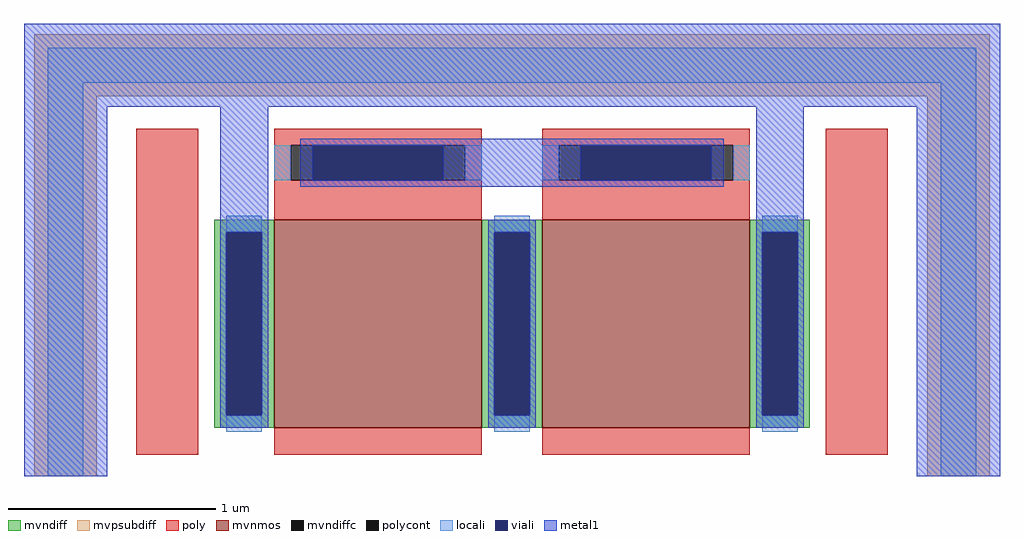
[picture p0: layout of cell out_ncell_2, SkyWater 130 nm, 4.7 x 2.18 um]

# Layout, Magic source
magic
tech sky130A
magscale 1 2
<< mvpsubdiff >>
rect -188 378 732 438
rect -188 12 -128 378
rect 672 12 732 378
<< poly >>
rect -90 33 -30 347
rect 574 33 634 347
<< locali >>
rect -175 391 719 425
rect -175 12 -141 391
rect 685 12 719 391
<< metal1 >>
rect -198 368 742 448
rect -198 12 -118 368
rect -9 257 37 368
rect 218 291 326 337
rect 507 259 553 368
rect 662 12 742 368
use sky130_fd_pr__nfet_g5v0d10v5_7VNVKF  sky130_fd_pr__nfet_g5v0d10v5_7VNVKF_0
transform 1 0 272 0 1 190
box -287 -157 287 157
<< end >>

# cell sky130_fd_pr__nfet_g5v0d10v5_7VNVKF: kit device sky130_fd_pr__nfet_g5v0d10v5, w 1 l 1 m 1 nf 2 diffcov 100 polycov 100 guard 0 glc 1 grc 1 gtc 1 gbc 1 tbcov 100 rlcov 100 topc 1 botc 0 poverlap 0 doverlap 1 lmin 0.50 wmin 0.42 compatible {sky130_fd_pr__nfet_01v8 sky130_fd_pr__nfet_01v8_lvt sky130_fd_bs_flash__special_sonosfet_star sky130_fd_pr__nfet_g5v0d10v5 sky130_fd_pr__nfet_05v0_nvt sky130_fd_pr__nfet_03v3_nvt} full_metal 1 viasrc 100 viadrn 100 viagate 75 viagb 0 viagr 0 viagl 0 viagt 0
